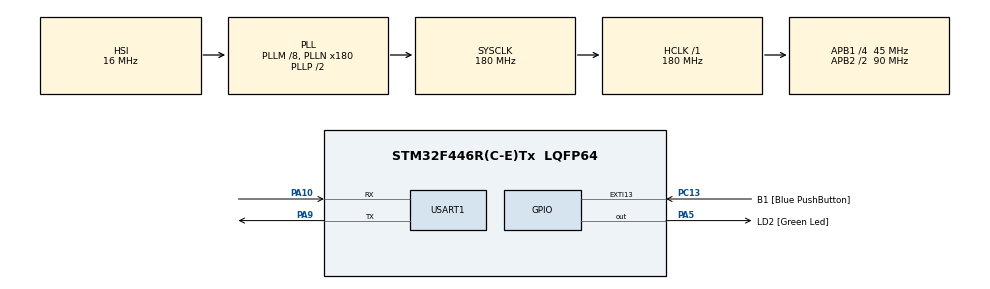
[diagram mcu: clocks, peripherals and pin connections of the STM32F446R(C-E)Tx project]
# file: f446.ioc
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FREERTOS.Tasks01=defaultTask,0,128,StartDefaultTask,Default,NULL,Dynamic,NULL,NULL;shell,0,256,Taskshell,Default,NULL,Dynamic,NULL,NULL
Mcu.Family=STM32F4
Mcu.Name=STM32F446R(C-E)Tx
Mcu.Package=LQFP64
NVIC.PriorityGroup=NVIC_PRIORITYGROUP_4
NVIC.TIM1_UP_TIM10_IRQn=true\:0\:0\:false\:false\:true\:false\:false
NVIC.TimeBase=TIM1_UP_TIM10_IRQn
NVIC.TimeBaseIP=TIM1
PA10.Mode=Asynchronous
PA10.Signal=USART1_RX
PA13.GPIO_Label=TMS
PA13.Signal=SYS_JTMS-SWDIO
PA14.GPIO_Label=TCK
PA14.Signal=SYS_JTCK-SWCLK
PA2.GPIO_Label=USART_TX
PA2.Signal=USART2_TX
PA3.GPIO_Label=USART_RX
PA3.Signal=USART2_RX
PA5.GPIO_Label=LD2 [Green Led]
PA5.Signal=GPIO_Output
PA9.Mode=Asynchronous
PA9.Signal=USART1_TX
PB3.GPIO_Label=SWO
PB3.Signal=SYS_JTDO-SWO
PC13.GPIO_Label=B1 [Blue PushButton]
PC13.GPIO_ModeDefaultEXTI=GPIO_MODE_IT_FALLING
PC13.Signal=GPXTI13
PC14-OSC32_IN.Signal=RCC_OSC32_IN
PC15-OSC32_OUT.Signal=RCC_OSC32_OUT
PH0-OSC_IN.Signal=RCC_OSC_IN
PH1-OSC_OUT.Signal=RCC_OSC_OUT
ProjectManager.HeapSize=0xc00
ProjectManager.StackSize=0x400
ProjectManager.TargetToolchain=MDK-ARM V5
RCC.AHBFreq_Value=180000000
RCC.APB1CLKDivider=RCC_HCLK_DIV4
RCC.APB1Freq_Value=45000000
RCC.APB1TimFreq_Value=90000000
RCC.APB2CLKDivider=RCC_HCLK_DIV2
RCC.APB2Freq_Value=90000000
RCC.APB2TimFreq_Value=180000000
RCC.CortexFreq_Value=180000000
RCC.FLatency-AdvancedSettings=FLASH_LATENCY_5
RCC.HCLKFreq_Value=180000000
RCC.HSE_VALUE=8000000
RCC.HSI_VALUE=16000000
RCC.LSE_VALUE=32768
RCC.PLLM=8
RCC.PLLN=180
RCC.SYSCLKFreq_VALUE=180000000
RCC.SYSCLKSource=RCC_SYSCLKSOURCE_PLLCLK
RCC.USBFreq_Value=180000000
RCC.VCOOutputFreq_Value=360000000
USART1.VirtualMode=VM_ASYNC
VP_CRC_VS_CRC.Mode=CRC_Activate
VP_FATFS_VS_Generic.Mode=User_defined
VP_FREERTOS_VS_ENABLE.Mode=Enabled
VP_IWDG_VS_IWDG.Mode=IWDG_Activate
VP_MBEDTLS_VS_MBEDTLS.Mode=Enabled
VP_SYS_VS_tim1.Mode=TIM1
VP_TIM6_VS_ClockSourceINT.Mode=Enable_Timer
VP_TIM7_VS_ClockSourceINT.Mode=Enable_Timer
board=NUCLEO-F446RE

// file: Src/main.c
/**
  ******************************************************************************
  * @file           : main.c
  * @brief          : Main program body
  ******************************************************************************
  * This notice applies to any and all portions of this file
  * that are not between comment pairs USER CODE BEGIN and
  * USER CODE END. Other portions of this file, whether
  * inserted by the user or by software development tools
  * are owned by their respective copyright owners.
  *
  * Copyright (c) 2018 STMicroelectronics International N.V.
  * All rights reserved.
  *
  * Redistribution and use in source and binary forms, with or without
  * modification, are permitted, provided that the following conditions are met:
  *
  * 1. Redistribution of source code must retain the above copyright notice,
  *    this list of conditions and the following disclaimer.
  * 2. Redistributions in binary form must reproduce the above copyright notice,
  *    this list of conditions and the following disclaimer in the documentation
  *    and/or other materials provided with the distribution.
  * 3. Neither the name of STMicroelectronics nor the names of other
  *    contributors to this software may be used to endorse or promote products
  *    derived from this software without specific written permission.
  * 4. This software, including modifications and/or derivative works of this
  *    software, must execute solely and exclusively on microcontroller or
  *    microprocessor devices manufactured by or for STMicroelectronics.
  * 5. Redistribution and use of this software other than as permitted under
  *    this license is void and will automatically terminate your rights under
  *    this license.
  *
  * THIS SOFTWARE IS PROVIDED BY STMICROELECTRONICS AND CONTRIBUTORS "AS IS"
  * AND ANY EXPRESS, IMPLIED OR STATUTORY WARRANTIES, INCLUDING, BUT NOT
  * LIMITED TO, THE IMPLIED WARRANTIES OF MERCHANTABILITY, FITNESS FOR A
  * PARTICULAR PURPOSE AND NON-INFRINGEMENT OF THIRD PARTY INTELLECTUAL PROPERTY
  * RIGHTS ARE DISCLAIMED TO THE FULLEST EXTENT PERMITTED BY LAW. IN NO EVENT
  * SHALL STMICROELECTRONICS OR CONTRIBUTORS BE LIABLE FOR ANY DIRECT, INDIRECT,
  * INCIDENTAL, SPECIAL, EXEMPLARY, OR CONSEQUENTIAL DAMAGES (INCLUDING, BUT NOT
  * LIMITED TO, PROCUREMENT OF SUBSTITUTE GOODS OR SERVICES; LOSS OF USE, DATA,
  * OR PROFITS; OR BUSINESS INTERRUPTION) HOWEVER CAUSED AND ON ANY THEORY OF
  * LIABILITY, WHETHER IN CONTRACT, STRICT LIABILITY, OR TORT (INCLUDING
  * NEGLIGENCE OR OTHERWISE) ARISING IN ANY WAY OUT OF THE USE OF THIS SOFTWARE,
  * EVEN IF ADVISED OF THE POSSIBILITY OF SUCH DAMAGE.
  *
  ******************************************************************************
  */
#include "main.h"
#include "stm32f4xx_hal.h"
#include "cmsis_os.h"
#include "crc.h"
#include "fatfs.h"
#include "iwdg.h"
#include "mbedtls.h"
#include "tim.h"
#include "usart.h"
#include "gpio.h"

/* USER CODE BEGIN PV */
/* Private variables ---------------------------------------------------------*/

/* USER CODE END PV */

void SystemClock_Config(void);
void MX_FREERTOS_Init(void);

/* USER CODE BEGIN PFP */
/* Private function prototypes -----------------------------------------------*/

/* USER CODE END PFP */

int main(void)
{

  /* MCU Configuration----------------------------------------------------------*/

  /* Reset of all peripherals, Initializes the Flash interface and the Systick. */
  HAL_Init();

  /* Configure the system clock */
  SystemClock_Config();

  /* Initialize all configured peripherals */
  MX_GPIO_Init();
  MX_USART1_UART_Init();
  MX_TIM6_Init();
  MX_TIM7_Init();
  MX_CRC_Init();
  MX_IWDG_Init();

  /* Call init function for freertos objects (in freertos.c) */
  MX_FREERTOS_Init();

  /* Start scheduler */
  osKernelStart();

  /* We should never get here as control is now taken by the scheduler */

  /* Infinite loop */
  while (1)
  {

  }

}

void SystemClock_Config(void)
{

  RCC_OscInitTypeDef RCC_OscInitStruct;
  RCC_ClkInitTypeDef RCC_ClkInitStruct;

    /**Configure the main internal regulator output voltage
    */
  __HAL_RCC_PWR_CLK_ENABLE();

  __HAL_PWR_VOLTAGESCALING_CONFIG(PWR_REGULATOR_VOLTAGE_SCALE1);

    /**Initializes the CPU, AHB and APB busses clocks
    */
  RCC_OscInitStruct.OscillatorType = RCC_OSCILLATORTYPE_HSI|RCC_OSCILLATORTYPE_LSI;
  RCC_OscInitStruct.HSIState = RCC_HSI_ON;
  RCC_OscInitStruct.HSICalibrationValue = 16;
  RCC_OscInitStruct.LSIState = RCC_LSI_ON;
  RCC_OscInitStruct.PLL.PLLState = RCC_PLL_ON;
  RCC_OscInitStruct.PLL.PLLSource = RCC_PLLSOURCE_HSI;
  RCC_OscInitStruct.PLL.PLLM = 8;
  RCC_OscInitStruct.PLL.PLLN = 180;
  RCC_OscInitStruct.PLL.PLLP = RCC_PLLP_DIV2;
  RCC_OscInitStruct.PLL.PLLQ = 2;
  RCC_OscInitStruct.PLL.PLLR = 2;
  if (HAL_RCC_OscConfig(&RCC_OscInitStruct) != HAL_OK)
  {
    _Error_Handler(__FILE__, __LINE__);
  }

    /**Activate the Over-Drive mode
    */
  if (HAL_PWREx_EnableOverDrive() != HAL_OK)
  {
    _Error_Handler(__FILE__, __LINE__);
  }

    /**Initializes the CPU, AHB and APB busses clocks
    */
  RCC_ClkInitStruct.ClockType = RCC_CLOCKTYPE_HCLK|RCC_CLOCKTYPE_SYSCLK
                              |RCC_CLOCKTYPE_PCLK1|RCC_CLOCKTYPE_PCLK2;
  RCC_ClkInitStruct.SYSCLKSource = RCC_SYSCLKSOURCE_PLLCLK;
  RCC_ClkInitStruct.AHBCLKDivider = RCC_SYSCLK_DIV1;
  RCC_ClkInitStruct.APB1CLKDivider = RCC_HCLK_DIV4;
  RCC_ClkInitStruct.APB2CLKDivider = RCC_HCLK_DIV2;

  if (HAL_RCC_ClockConfig(&RCC_ClkInitStruct, FLASH_LATENCY_5) != HAL_OK)
  {
    _Error_Handler(__FILE__, __LINE__);
  }

    /**Configure the Systick interrupt time
    */
  HAL_SYSTICK_Config(HAL_RCC_GetHCLKFreq()/1000);

    /**Configure the Systick
    */
  HAL_SYSTICK_CLKSourceConfig(SYSTICK_CLKSOURCE_HCLK);

  /* SysTick_IRQn interrupt configuration */
  HAL_NVIC_SetPriority(SysTick_IRQn, 15, 0);
}

void HAL_TIM_PeriodElapsedCallback(TIM_HandleTypeDef *htim)
{
  if (htim->Instance == TIM1) {
    HAL_IncTick();
  }
}

void _Error_Handler(char *file, int line)
{
  while(1)
  {
  }
}

/************************ (C) COPYRIGHT STMicroelectronics *****END OF FILE****/

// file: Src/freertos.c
/* USER CODE BEGIN Header */
/**
  ******************************************************************************
  * File Name          : freertos.c
  * Description        : Code for freertos applications
  ******************************************************************************
  * This notice applies to any and all portions of this file
  * that are not between comment pairs USER CODE BEGIN and
  * USER CODE END. Other portions of this file, whether
  * inserted by the user or by software development tools
  * are owned by their respective copyright owners.
  *
  * Copyright (c) 2018 STMicroelectronics International N.V.
  * All rights reserved.
  *
  * Redistribution and use in source and binary forms, with or without
  * modification, are permitted, provided that the following conditions are met:
  *
  * 1. Redistribution of source code must retain the above copyright notice,
  *    this list of conditions and the following disclaimer.
  * 2. Redistributions in binary form must reproduce the above copyright notice,
  *    this list of conditions and the following disclaimer in the documentation
  *    and/or other materials provided with the distribution.
  * 3. Neither the name of STMicroelectronics nor the names of other
  *    contributors to this software may be used to endorse or promote products
  *    derived from this software without specific written permission.
  * 4. This software, including modifications and/or derivative works of this
  *    software, must execute solely and exclusively on microcontroller or
  *    microprocessor devices manufactured by or for STMicroelectronics.
  * 5. Redistribution and use of this software other than as permitted under
  *    this license is void and will automatically terminate your rights under
  *    this license.
  *
  * THIS SOFTWARE IS PROVIDED BY STMICROELECTRONICS AND CONTRIBUTORS "AS IS"
  * AND ANY EXPRESS, IMPLIED OR STATUTORY WARRANTIES, INCLUDING, BUT NOT
  * LIMITED TO, THE IMPLIED WARRANTIES OF MERCHANTABILITY, FITNESS FOR A
  * PARTICULAR PURPOSE AND NON-INFRINGEMENT OF THIRD PARTY INTELLECTUAL PROPERTY
  * RIGHTS ARE DISCLAIMED TO THE FULLEST EXTENT PERMITTED BY LAW. IN NO EVENT
  * SHALL STMICROELECTRONICS OR CONTRIBUTORS BE LIABLE FOR ANY DIRECT, INDIRECT,
  * INCIDENTAL, SPECIAL, EXEMPLARY, OR CONSEQUENTIAL DAMAGES (INCLUDING, BUT NOT
  * LIMITED TO, PROCUREMENT OF SUBSTITUTE GOODS OR SERVICES; LOSS OF USE, DATA,
  * OR PROFITS; OR BUSINESS INTERRUPTION) HOWEVER CAUSED AND ON ANY THEORY OF
  * LIABILITY, WHETHER IN CONTRACT, STRICT LIABILITY, OR TORT (INCLUDING
  * NEGLIGENCE OR OTHERWISE) ARISING IN ANY WAY OUT OF THE USE OF THIS SOFTWARE,
  * EVEN IF ADVISED OF THE POSSIBILITY OF SUCH DAMAGE.
  *
  ******************************************************************************
  */
/* USER CODE END Header */

#include "FreeRTOS.h"
#include "task.h"
#include "main.h"
#include "cmsis_os.h"

/* USER CODE BEGIN Includes */
#include "usart.h"
#include "console_api.h"
/* USER CODE END Includes */

osThreadId defaultTaskHandle;
osThreadId shellHandle;

/* USER CODE BEGIN FunctionPrototypes */
#include "printf.h"
#include <stdio.h>
#include <stdlib.h>
#include <string.h>
#include <stdbool.h>
#include "cJSON.h"
#include "console_api.h"
/* Used by some code below as an example datatype. */
struct record
{
    const char *precision;
    double lat;
    double lon;
    const char *address;
    const char *city;
    const char *state;
    const char *zip;
    const char *country;
};

/* Create a bunch of objects as demonstration. */
static int print_preallocated(cJSON *root)
{
    /* declarations */
    char *out = NULL;
    char *buf = NULL;
    char *buf_fail = NULL;
    size_t len = 0;
    size_t len_fail = 0;

    /* formatted print */
    out = cJSON_Print(root);

    /* create buffer to succeed */
    /* the extra 5 bytes are because of inaccuracies when reserving memory */
    len = strlen(out) + 5;
    buf = (char*)malloc(len);
    if (buf == NULL)
    {
        printf("Failed to allocate memory.\n");
         (1);
    }

    /* create buffer to fail */
    len_fail = strlen(out);
    buf_fail = (char*)malloc(len_fail);
    if (buf_fail == NULL)
    {
        printf("Failed to allocate memory.\n");
         (1);
    }

    /* Print to buffer */
    if (!cJSON_PrintPreallocated(root, buf, (int)len, 1)) {
        printf("cJSON_PrintPreallocated failed!\r\n");
        if (strcmp(out, buf) != 0) {
            printf("cJSON_PrintPreallocated not the same as cJSON_Print!\r\n");
            printf("cJSON_Print result:\n%s \r\n", out);
            printf("cJSON_PrintPreallocated result:\n%s \r\n", buf);
        }
        free(out);
        free(buf_fail);
        free(buf);
        return -1;
    }

    /* success */
    printf("%s \r\n", buf);

    /* force it to fail */
    if (cJSON_PrintPreallocated(root, buf_fail, (int)len_fail, 1)) {
        printf("cJSON_PrintPreallocated failed to show error with insufficient memory!\r\n");
        printf("cJSON_Print result:\n%s \r\n", out);
        printf("cJSON_PrintPreallocated result:\n%s \r\n", buf_fail);
        free(out);
        free(buf_fail);
        free(buf);
        return -1;
    }

    free(out);
    free(buf_fail);
    free(buf);
    return 0;
}

/* Create a bunch of objects as demonstration. */
static void create_objects(void)
{
    /* declare a few. */
    cJSON *root = NULL;
    cJSON *fmt = NULL;
    cJSON *img = NULL;
    cJSON *thm = NULL;
    cJSON *fld = NULL;
    int i = 0;

    /* Our "days of the week" array: */
    const char *strings[7] =
    {
        "Sunday",
        "Monday",
        "Tuesday",
        "Wednesday",
        "Thursday",
        "Friday",
        "Saturday"
    };
    /* Our matrix: */
    int numbers[3][3] =
    {
        {0, -1, 0},
        {1, 0, 0},
        {0 ,0, 1}
    };
    /* Our "gallery" item: */
    int ids[4] = { 116, 943, 234, 38793 };
    /* Our array of "records": */
    struct record fields[2] =
    {
        {
            "zip",
            37.7668,
            -1.223959e+2,
            "",
            "SAN FRANCISCO",
            "CA",
            "94107",
            "US"
        },
        {
            "zip",
            37.371991,
            -1.22026e+2,
            "",
            "SUNNYVALE",
            "CA",
            "94085",
            "US"
        }
    };
    volatile double zero = 0.0;

    /* Here we construct some JSON standards, from the JSON site. */

    /* Our "Video" datatype: */
    root = cJSON_CreateObject();
    cJSON_AddItemToObject(root, "name", cJSON_CreateString("Jack (\"Bee\") Nimble"));
	cJSON_AddItemToObject(root, "null", cJSON_CreateNull());
	cJSON_AddItemToObject(root, "true", cJSON_CreateTrue());
	cJSON_AddItemToObject(root, "false", cJSON_CreateFalse());
	cJSON_AddItemToObject(root, "bool", cJSON_CreateBool(false));
	cJSON_AddItemToObject(root, "num", cJSON_CreateNumber(3.1415926));
    cJSON_AddItemToObject(root, "format", fmt = cJSON_CreateObject());
    cJSON_AddStringToObject(fmt, "type", "rect");
    cJSON_AddNumberToObject(fmt, "width", 1920);
    cJSON_AddNumberToObject(fmt, "height", 1080);
    cJSON_AddFalseToObject (fmt, "interlace");
    cJSON_AddNumberToObject(fmt, "frame rate", 24);

    /* Print to text */
    if (print_preallocated(root) != 0) {
        cJSON_Delete(root);
         (EXIT_FAILURE);
    }

	cJSON_ReplaceItemInObject(root, "name", cJSON_CreateString("andy"));

	/* Print to text */
    if (print_preallocated(root) != 0) {
        cJSON_Delete(root);
         (EXIT_FAILURE);
    }

    cJSON_Delete(root);

    /* Our "days of the week" array: */
    root = cJSON_CreateStringArray(strings, 7);

    if (print_preallocated(root) != 0) {
        cJSON_Delete(root);
         (EXIT_FAILURE);
    }
    cJSON_Delete(root);

    /* Our matrix: */
    root = cJSON_CreateArray();
    for (i = 0; i < 3; i++)
    {
        cJSON_AddItemToArray(root, cJSON_CreateIntArray(numbers[i], 3));
    }

    /* cJSON_ReplaceItemInArray(root, 1, cJSON_CreateString("Replacement")); */

    if (print_preallocated(root) != 0) {
        cJSON_Delete(root);
         (EXIT_FAILURE);
    }
    cJSON_Delete(root);

    /* Our "gallery" item: */
    root = cJSON_CreateObject();
    cJSON_AddItemToObject(root, "Image", img = cJSON_CreateObject());
    cJSON_AddNumberToObject(img, "Width", 800);
    cJSON_AddNumberToObject(img, "Height", 600);
    cJSON_AddStringToObject(img, "Title", "View from 15th Floor");
    cJSON_AddItemToObject(img, "Thumbnail", thm = cJSON_CreateObject());
    cJSON_AddStringToObject(thm, "Url", "http:/*www.example.com/image/481989943");
    cJSON_AddNumberToObject(thm, "Height", 125);
    cJSON_AddStringToObject(thm, "Width", "100");
    cJSON_AddItemToObject(img, "IDs", cJSON_CreateIntArray(ids, 4));

    if (print_preallocated(root) != 0) {
        cJSON_Delete(root);
         (EXIT_FAILURE);
    }
    cJSON_Delete(root);

    /* Our array of "records": */
    root = cJSON_CreateArray();
    for (i = 0; i < 2; i++)
    {
        cJSON_AddItemToArray(root, fld = cJSON_CreateObject());
        cJSON_AddStringToObject(fld, "precision", fields[i].precision);
        cJSON_AddNumberToObject(fld, "Latitude", fields[i].lat);
        cJSON_AddNumberToObject(fld, "Longitude", fields[i].lon);
        cJSON_AddStringToObject(fld, "Address", fields[i].address);
        cJSON_AddStringToObject(fld, "City", fields[i].city);
        cJSON_AddStringToObject(fld, "State", fields[i].state);
        cJSON_AddStringToObject(fld, "Zip", fields[i].zip);
        cJSON_AddStringToObject(fld, "Country", fields[i].country);
    }

    /* cJSON_ReplaceItemInObject(cJSON_GetArrayItem(root, 1), "City", cJSON_CreateIntArray(ids, 4)); */

    if (print_preallocated(root) != 0) {
        cJSON_Delete(root);
         (EXIT_FAILURE);
    }
    cJSON_Delete(root);

    root = cJSON_CreateObject();
    cJSON_AddNumberToObject(root, "number", 1.0 / zero);

    if (print_preallocated(root) != 0) {
        cJSON_Delete(root);
         (EXIT_FAILURE);
    }
    cJSON_Delete(root);
}
/* USER CODE END FunctionPrototypes */

void StartDefaultTask(void const * argument);
void Taskshell(void const * argument);

extern void MX_MBEDTLS_Init(void);
extern void MX_FATFS_Init(void);
void MX_FREERTOS_Init(void); /* (MISRA C 2004 rule 8.1) */

void MX_FREERTOS_Init(void) {

  /* Create the thread(s) */
  /* definition and creation of defaultTask */
  osThreadDef(defaultTask, StartDefaultTask, osPriorityNormal, 0, 128);
  defaultTaskHandle = osThreadCreate(osThread(defaultTask), NULL);

  /* definition and creation of shell */
  osThreadDef(shell, Taskshell, osPriorityNormal, 0, 256);
  shellHandle = osThreadCreate(osThread(shell), NULL);

}

void StartDefaultTask(void const * argument)
{
  /* Up to user define the empty MX_MBEDTLS_Init() function located in mbedtls.c file */
  MX_MBEDTLS_Init();

  /* init code for FATFS */
  MX_FATFS_Init();

  /* USER CODE BEGIN StartDefaultTask */
  /* Infinite loop */
  for(;;)
  {
	extern IWDG_HandleTypeDef hiwdg;
	HAL_IWDG_Refresh(&hiwdg);
    osDelay(10);
  }
  /* USER CODE END StartDefaultTask */
}

void Taskshell(void const * argument)
{
  /* USER CODE BEGIN Taskshell */
   /* print the version */

    printf("Version: %s\n", cJSON_Version());

    /* Now some samplecode for building objects concisely: */
		create_objects();
		perror("test");
    console_daemon_run();
  /* Infinite loop */
  for(;;)
  {

    osDelay(10);
  }
  /* USER CODE END Taskshell */
}

/************************ (C) COPYRIGHT STMicroelectronics *****END OF FILE****/
